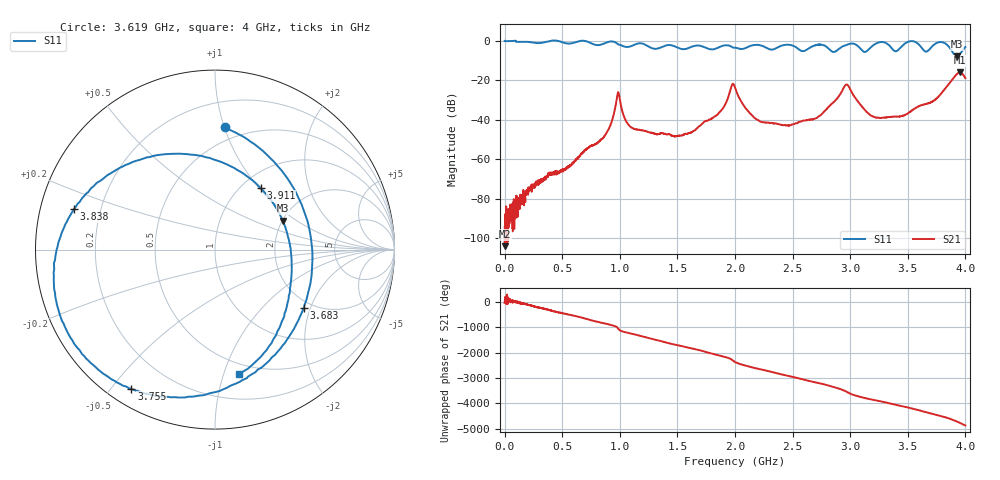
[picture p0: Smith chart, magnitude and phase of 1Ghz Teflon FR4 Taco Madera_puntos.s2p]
! NanoVNA-App
! Date: 2025-10-30 20:47:11
! Start: 10kHz Stop: 4GHz Points: 3201
! S-Parameter data: F S11 S21 S12 S22
# Hz S RI R 50
!  Frequency  S11_Real  S11_Imag  S21_Real  S21_Imag  S12_Real  S12_Imag  S22_Real  S22_Imag
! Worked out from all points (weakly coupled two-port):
!   3201 points, 10 kHz to 4 GHz, reference 50 ohm
!   highest |S21| = -15.84 dB at 3.953 GHz (marker M1); lowest = -104.2 dB at 10 kHz (marker M2)
!   lowest |S11| = -7.7 dB at 3.925 GHz (marker M3), VSWR 2.39, Z = 101 + j38.9 ohm
!   |S11| at or under -10 dB: nowhere
!   S12 and S22 are empty: the file has one direction only
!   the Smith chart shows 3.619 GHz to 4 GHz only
!   S11 on the Smith chart (normalised r, x): 3.619 GHz: 0.39, +1.00; 3.683 GHz: 1.80, -1.80; 3.755 GHz: 0.07, -0.56; 3.838 GHz: 0.10, +0.14; 3.911 GHz: 1.21, +1.02; 4 GHz: 0.41, -1.13
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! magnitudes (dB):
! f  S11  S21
! 10 kHz  0.0  -104.2
! 158.8 MHz  -0.4  -82.2
! 667.5 MHz  0.1  -57.2
! 873.8 MHz  -1.0  -47.7
! 986.3 MHz  -1.8  -26.0
! 1.09 GHz  -2.8  -43.5
! 1.334 GHz  -3.7  -47.3
! 1.635 GHz  -2.7  -45.8
! 2 GHz  -3.4  -23.6
! 2.225 GHz  -2.2  -41.0
! 2.668 GHz  -2.8  -39.8
! 2.968 GHz  -2.1  -22.1
! 3.17 GHz  -3.7  -37.4
! 3.334 GHz  -1.9  -38.6
! 3.619 GHz  -3.3  -32.5
! 3.683 GHz  -4.6  -31.5
! 3.755 GHz  -0.9  -28.9
! 3.838 GHz  -1.7  -23.2
! 3.911 GHz  -7.4  -17.8
! 3.925 GHz  -7.7  -16.8
! 3.953 GHz  -6.6  -15.8
! 4 GHz  -3.0  -18.9
